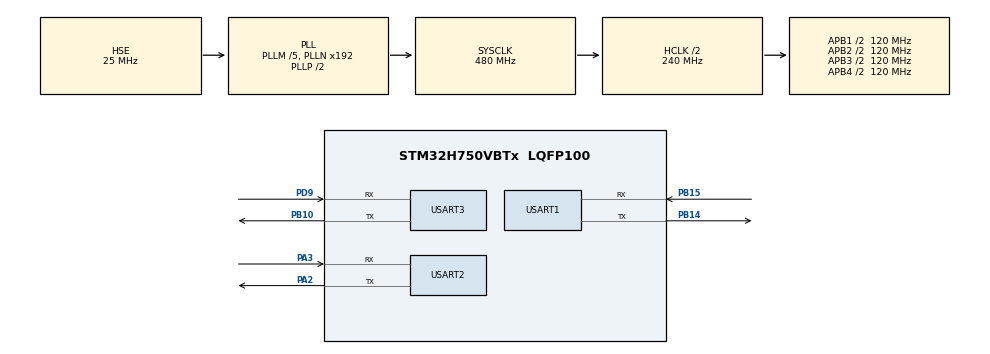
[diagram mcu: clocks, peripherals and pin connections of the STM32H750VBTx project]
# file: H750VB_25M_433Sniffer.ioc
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Mcu.Family=STM32H7
NVIC.USART3_IRQn=true\:0\:0\:false\:false\:true\:true\:true
RCC.PLLSourceVirtual=RCC_PLLSOURCE_HSE
RCC.CortexFreq_Value=480000000
PA13\ (JTMS/SWDIO).Mode=Serial_Wire
PB10.Mode=Asynchronous
RCC.HPRE=RCC_HCLK_DIV2
PH0-OSC_IN\ (PH0).Signal=RCC_OSC_IN
PC15-OSC32_OUT\ (OSC32_OUT).Mode=LSE-External-Oscillator
RCC.PLLFRACN=0
RCC.D2PPRE2=RCC_APB2_DIV2
RCC.D2PPRE1=RCC_APB1_DIV2
PD9.Signal=USART3_RX
PB15.Signal=USART1_RX
PD9.Mode=Asynchronous
NVIC.USART2_IRQn=true\:0\:0\:false\:false\:true\:true\:true
PH1-OSC_OUT\ (PH1).Signal=RCC_OSC_OUT
RCC.SYSCLKSource=RCC_SYSCLKSOURCE_PLLCLK
ProjectManager.StackSize=0x400
USART3.VirtualMode-Asynchronous=VM_ASYNC
USART1.VirtualMode-Asynchronous=VM_ASYNC
PA3.Mode=Asynchronous
PA14\ (JTCK/SWCLK).Signal=DEBUG_JTCK-SWCLK
ProjectManager.TargetToolchain=MDK-ARM V5.27
PC15-OSC32_OUT\ (OSC32_OUT).Signal=RCC_OSC32_OUT
RCC.HCLKFreq_Value=240000000
RCC.DIVN1=192
RCC.USBFreq_Value=480000000
PB10.Signal=USART3_TX
PB14.Signal=USART1_TX
PH1-OSC_OUT\ (PH1).Mode=HSE-External-Oscillator
board=custom
USART2.VirtualMode-Asynchronous=VM_ASYNC
RCC.DIVM1=5
PB15.Mode=Asynchronous
RCC.APB2Freq_Value=120000000
PB14.Mode=Asynchronous
RCC.ADCFreq_Value=50390625
PA14\ (JTCK/SWCLK).Mode=Serial_Wire
Mcu.Name=STM32H750VBTx
PA2.Signal=USART2_TX
RCC.APB3Freq_Value=120000000
RCC.SYSCLKFreq_VALUE=480000000
Mcu.Package=LQFP100
RCC.D1PPRE=RCC_APB3_DIV2
PC14-OSC32_IN\ (OSC32_IN).Signal=RCC_OSC32_IN
ProjectManager.HeapSize=0x200
NVIC.PriorityGroup=NVIC_PRIORITYGROUP_4
PC14-OSC32_IN\ (OSC32_IN).Mode=LSE-External-Oscillator
RCC.APB4Freq_Value=120000000
PA2.Mode=Asynchronous
RCC.D3PPRE=RCC_APB4_DIV2
NVIC.USART1_IRQn=true\:0\:0\:false\:false\:true\:true\:true
RCC.APB1Freq_Value=120000000
PH0-OSC_IN\ (PH0).Mode=HSE-External-Oscillator
PA13\ (JTMS/SWDIO).Signal=DEBUG_JTMS-SWDIO
PA3.Signal=USART2_RX

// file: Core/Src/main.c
/* USER CODE BEGIN Header */
/**
  ******************************************************************************
  * @file           : main.c
  * @brief          : Main program body
  ******************************************************************************
  * @attention
  *
  * <h2><center>&copy; Copyright (c) 2020 STMicroelectronics.
  * All rights reserved.</center></h2>
  *
  * This software component is licensed by ST under BSD 3-Clause license,
  * the "License"; You may not use this file except in compliance with the
  * License. You may obtain a copy of the License at:
  *                        opensource.org/licenses/BSD-3-Clause
  *
  ******************************************************************************
  */
/* USER CODE END Header */
#include "main.h"
#include "usart.h"
#include "gpio.h"

/* USER CODE BEGIN Includes */
#include "DELAY/delay.h"
#include "USART/myusart1.h"
#include "USART/myusart2.h"
#include "USART/myusart3.h"
/* USER CODE END Includes */

/* USER CODE BEGIN PV */
uint8_t buffer[100];
int len;
uint8_t init315[5]={0x55,0xAA,0x02,0x02,0x04};
uint8_t init433[5]={0x55,0xAA,0x02,0x02,0x06};
/* USER CODE END PV */

void SystemClock_Config(void);

int main(void)
{

  /* MCU Configuration--------------------------------------------------------*/

  /* Reset of all peripherals, Initializes the Flash interface and the Systick. */
  HAL_Init();

  /* Configure the system clock */
  SystemClock_Config();

  /* Initialize all configured peripherals */
  MX_GPIO_Init();
  MX_USART1_UART_Init();
  MX_USART2_UART_Init();
  MX_USART3_UART_Init();
  /* USER CODE BEGIN 2 */
  Delay_Init(480);
  MyUSART1_Init();
  MyUSART2_Init();
  MyUSART3_Init();
  Delay_ms(1000);
  MyUSART2_Write(init315,5);
  MyUSART3_Write(init433,5);
  MyUSART1_Write(init315,5);
  /* USER CODE END 2 */

  /* Infinite loop */
  while (1)
  {

    /* USER CODE BEGIN 3 */
    Delay_ms(100);
    len=MyUSART2_ReadAll(buffer);
    if(len>0)
      MyUSART1_Write(buffer,len);

    Delay_ms(100);
    len=MyUSART3_ReadAll(buffer);
    if(len>0)
      MyUSART1_Write(buffer,len);
  }
  /* USER CODE END 3 */
}

void SystemClock_Config(void)
{
  RCC_OscInitTypeDef RCC_OscInitStruct = {0};
  RCC_ClkInitTypeDef RCC_ClkInitStruct = {0};
  RCC_PeriphCLKInitTypeDef PeriphClkInitStruct = {0};

  /** Supply configuration update enable
  */
  HAL_PWREx_ConfigSupply(PWR_LDO_SUPPLY);
  /** Configure the main internal regulator output voltage
  */
  __HAL_PWR_VOLTAGESCALING_CONFIG(PWR_REGULATOR_VOLTAGE_SCALE0);

  while(!__HAL_PWR_GET_FLAG(PWR_FLAG_VOSRDY)) {}
  /** Initializes the RCC Oscillators according to the specified parameters
  * in the RCC_OscInitTypeDef structure.
  */
  RCC_OscInitStruct.OscillatorType = RCC_OSCILLATORTYPE_HSE;
  RCC_OscInitStruct.HSEState = RCC_HSE_ON;
  RCC_OscInitStruct.PLL.PLLState = RCC_PLL_ON;
  RCC_OscInitStruct.PLL.PLLSource = RCC_PLLSOURCE_HSE;
  RCC_OscInitStruct.PLL.PLLM = 5;
  RCC_OscInitStruct.PLL.PLLN = 192;
  RCC_OscInitStruct.PLL.PLLP = 2;
  RCC_OscInitStruct.PLL.PLLQ = 2;
  RCC_OscInitStruct.PLL.PLLR = 2;
  RCC_OscInitStruct.PLL.PLLRGE = RCC_PLL1VCIRANGE_2;
  RCC_OscInitStruct.PLL.PLLVCOSEL = RCC_PLL1VCOWIDE;
  RCC_OscInitStruct.PLL.PLLFRACN = 0;
  if (HAL_RCC_OscConfig(&RCC_OscInitStruct) != HAL_OK)
  {
    Error_Handler();
  }
  /** Initializes the CPU, AHB and APB buses clocks
  */
  RCC_ClkInitStruct.ClockType = RCC_CLOCKTYPE_HCLK|RCC_CLOCKTYPE_SYSCLK
                              |RCC_CLOCKTYPE_PCLK1|RCC_CLOCKTYPE_PCLK2
                              |RCC_CLOCKTYPE_D3PCLK1|RCC_CLOCKTYPE_D1PCLK1;
  RCC_ClkInitStruct.SYSCLKSource = RCC_SYSCLKSOURCE_PLLCLK;
  RCC_ClkInitStruct.SYSCLKDivider = RCC_SYSCLK_DIV1;
  RCC_ClkInitStruct.AHBCLKDivider = RCC_HCLK_DIV2;
  RCC_ClkInitStruct.APB3CLKDivider = RCC_APB3_DIV2;
  RCC_ClkInitStruct.APB1CLKDivider = RCC_APB1_DIV2;
  RCC_ClkInitStruct.APB2CLKDivider = RCC_APB2_DIV2;
  RCC_ClkInitStruct.APB4CLKDivider = RCC_APB4_DIV2;

  if (HAL_RCC_ClockConfig(&RCC_ClkInitStruct, FLASH_LATENCY_4) != HAL_OK)
  {
    Error_Handler();
  }
  PeriphClkInitStruct.PeriphClockSelection = RCC_PERIPHCLK_USART3|RCC_PERIPHCLK_USART2
                              |RCC_PERIPHCLK_USART1;
  PeriphClkInitStruct.Usart234578ClockSelection = RCC_USART234578CLKSOURCE_D2PCLK1;
  PeriphClkInitStruct.Usart16ClockSelection = RCC_USART16CLKSOURCE_D2PCLK2;
  if (HAL_RCCEx_PeriphCLKConfig(&PeriphClkInitStruct) != HAL_OK)
  {
    Error_Handler();
  }
}

void Error_Handler(void)
{
}

/************************ (C) COPYRIGHT STMicroelectronics *****END OF FILE****/
